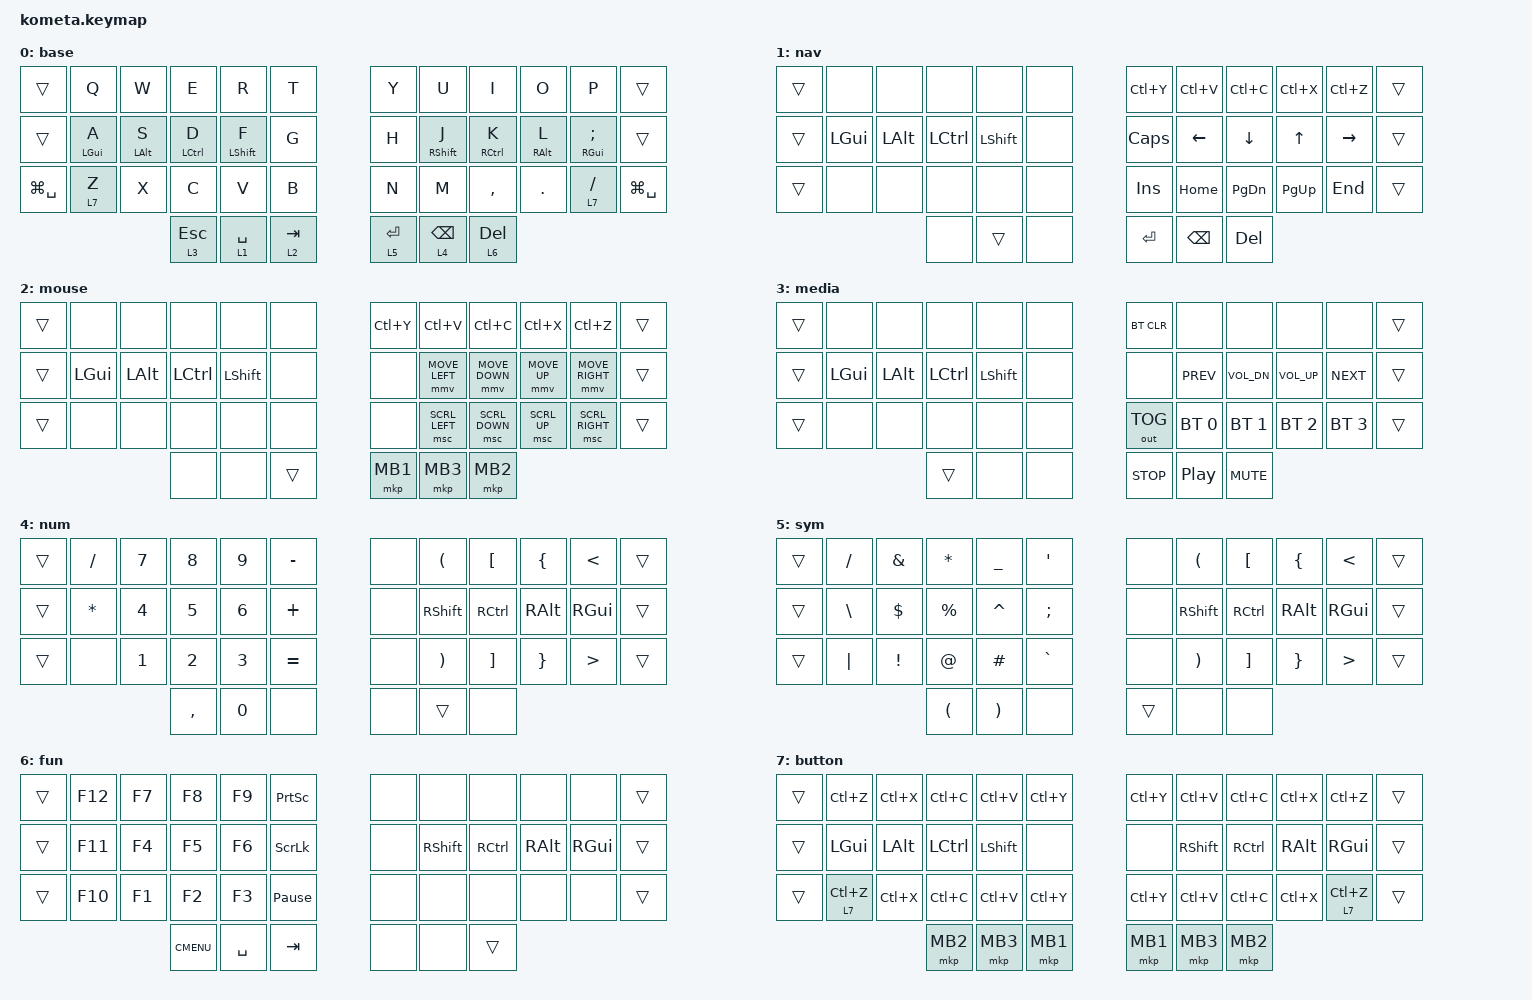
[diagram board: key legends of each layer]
#include <behaviors.dtsi>
#include <dt-bindings/zmk/bt.h>
#include <dt-bindings/zmk/keys.h>
#include <dt-bindings/zmk/outputs.h>
#include <dt-bindings/zmk/pointing.h>

#define DEF 0
#define LWR 1
#define RSE 2
#define ADJ 3

/ {
    behaviors {
        hr: hr {
            compatible = "zmk,behavior-hold-tap";
            label = "home_row";
            bindings = <&kp>, <&kp>;

            #binding-cells = <2>;
            tapping-term-ms = <250>;
            quick-tap-ms = <250>;
            flavor = "tap-preferred";
        };
    };

    combos {
        compatible = "zmk,combos";

        cha {
            bindings = <&kp LBKT>;
            key-positions = <8 7>;
            layers = <0>;
        };

        znak {
            bindings = <&kp RBKT>;
            key-positions = <8 9>;
            layers = <0>;
        };

        ue {
            bindings = <&kp SQT>;
            key-positions = <31 32>;
            layers = <0>;
        };

        yo {
            bindings = <&kp GRAVE>;
            key-positions = <4 3>;
            layers = <0>;
        };

        numlock {
            bindings = <&kp KP_NUMLOCK>;
            key-positions = <4 3>;
            layers = <7>;
        };

        scroll_lock {
            bindings = <&kp SCROLLLOCK>;
            key-positions = <3 2>;
            layers = <7>;
        };

        numlock_2 {
            bindings = <&kp KP_NUMLOCK>;
            key-positions = <7 8>;
            layers = <7>;
        };

        scroll_lock_2 {
            bindings = <&kp SCROLLLOCK>;
            key-positions = <8 9>;
            layers = <7>;
        };
    };

    keymap {
        compatible = "zmk,keymap";

        base {
            bindings = <
&trans         &kp Q           &kp W       &kp E        &kp R         &kp T      &kp Y        &kp U         &kp I        &kp O       &kp P               &trans
&trans         &hr LEFT_GUI A  &hr LALT S  &hr LCTRL D  &hr LSHIFT F  &kp G      &kp H        &hr RSHIFT J  &hr RCTRL K  &hr RALT L  &hr RIGHT_GUI SEMI  &trans
&kp LG(SPACE)  &lt 7 Z         &kp X       &kp C        &kp V         &kp B      &kp N        &kp M         &kp COMMA    &kp DOT     &lt 7 FSLH          &kp LG(SPACE)
                                           &lt 3 ESC    &lt 1 SPACE   &lt 2 TAB  &lt 5 ENTER  &lt 4 BSPC    &lt 6 DEL
            >;
        };

        nav {
            bindings = <
&trans  &none         &none     &none      &none       &none  &kp LC(Y)  &kp LC(V)  &kp LC(C)  &kp LC(X)  &kp LC(Z)  &trans
&trans  &kp LEFT_GUI  &kp LALT  &kp LCTRL  &kp LSHIFT  &none  &kp CAPS   &kp LEFT   &kp DOWN   &kp UP     &kp RIGHT  &trans
&trans  &none         &none     &none      &none       &none  &kp INS    &kp HOME   &kp PG_DN  &kp PG_UP  &kp END    &trans
                                &none      &trans      &none  &kp ENTER  &kp BSPC   &kp DEL
            >;
        };

        mouse {
            bindings = <
&trans  &none     &none     &none      &none      &none   &kp LC(Y)  &kp LC(V)       &kp LC(C)       &kp LC(X)     &kp LC(Z)        &trans
&trans  &kp LGUI  &kp LALT  &kp LCTRL  &kp LSHFT  &none   &none      &mmv MOVE_LEFT  &mmv MOVE_DOWN  &mmv MOVE_UP  &mmv MOVE_RIGHT  &trans
&trans  &none     &none     &none      &none      &none   &none      &msc SCRL_LEFT  &msc SCRL_DOWN  &msc SCRL_UP  &msc SCRL_RIGHT  &trans
                            &none      &none      &trans  &mkp MB1   &mkp MB3        &mkp MB2
            >;
        };

        media {
            bindings = <
&trans  &none     &none     &none      &none      &none  &bt BT_CLR    &none             &none         &none         &none         &trans
&trans  &kp LGUI  &kp LALT  &kp LCTRL  &kp LSHFT  &none  &none         &kp C_PREV        &kp C_VOL_DN  &kp C_VOL_UP  &kp C_NEXT    &trans
&trans  &none     &none     &none      &none      &none  &out OUT_TOG  &bt BT_SEL 0      &bt BT_SEL 1  &bt BT_SEL 2  &bt BT_SEL 3  &trans
                            &trans     &none      &none  &kp C_STOP    &kp C_PLAY_PAUSE  &kp C_MUTE
            >;
        };

        num {
            bindings = <
&trans  &kp FSLH  &kp N7  &kp N8     &kp N9  &kp MINUS  &none  &kp LPAR   &kp LBKT   &kp LBRC  &kp LT    &trans
&trans  &kp STAR  &kp N4  &kp N5     &kp N6  &kp PLUS   &none  &kp RSHFT  &kp RCTRL  &kp RALT  &kp RGUI  &trans
&trans  &none     &kp N1  &kp N2     &kp N3  &kp EQUAL  &none  &kp RPAR   &kp RBKT   &kp RBRC  &kp GT    &trans
                          &kp COMMA  &kp N0  &none      &none  &trans     &none
            >;
        };

        sym {
            bindings = <
&trans  &kp FSLH  &kp AMPS  &kp STAR   &kp UNDER  &kp SQT    &none   &kp LPAR   &kp LBKT   &kp LBRC  &kp LT    &trans
&trans  &kp BSLH  &kp DLLR  &kp PRCNT  &kp CARET  &kp SEMI   &none   &kp RSHFT  &kp RCTRL  &kp RALT  &kp RGUI  &trans
&trans  &kp PIPE  &kp EXCL  &kp AT     &kp HASH   &kp GRAVE  &none   &kp RPAR   &kp RBKT   &kp RBRC  &kp GT    &trans
                            &kp LPAR   &kp RPAR   &none      &trans  &none      &none
            >;
        };

        fun {
            bindings = <
&trans  &kp F12  &kp F7  &kp F8       &kp F9     &kp PRINTSCREEN  &none  &none      &none      &none     &none     &trans
&trans  &kp F11  &kp F4  &kp F5       &kp F6     &kp SCROLLLOCK   &none  &kp RSHFT  &kp RCTRL  &kp RALT  &kp RGUI  &trans
&trans  &kp F10  &kp F1  &kp F2       &kp F3     &kp PAUSE_BREAK  &none  &none      &none      &none     &none     &trans
                         &kp K_CMENU  &kp SPACE  &kp TAB          &none  &none      &trans
            >;
        };

        button {
            bindings = <
&trans  &kp LC(Z)    &kp LC(X)  &kp LC(C)  &kp LC(V)  &kp LC(Y)  &kp LC(Y)  &kp LC(V)  &kp LC(C)  &kp LC(X)  &kp LC(Z)    &trans
&trans  &kp LGUI     &kp LALT   &kp LCTRL  &kp LSHFT  &none      &none      &kp RSHFT  &kp RCTRL  &kp RALT   &kp RGUI     &trans
&trans  &lt 7 LC(Z)  &kp LC(X)  &kp LC(C)  &kp LC(V)  &kp LC(Y)  &kp LC(Y)  &kp LC(V)  &kp LC(C)  &kp LC(X)  &lt 7 LC(Z)  &trans
                                &mkp MB2   &mkp MB3   &mkp MB1   &mkp MB1   &mkp MB3   &mkp MB2
            >;
        };
    };
};
